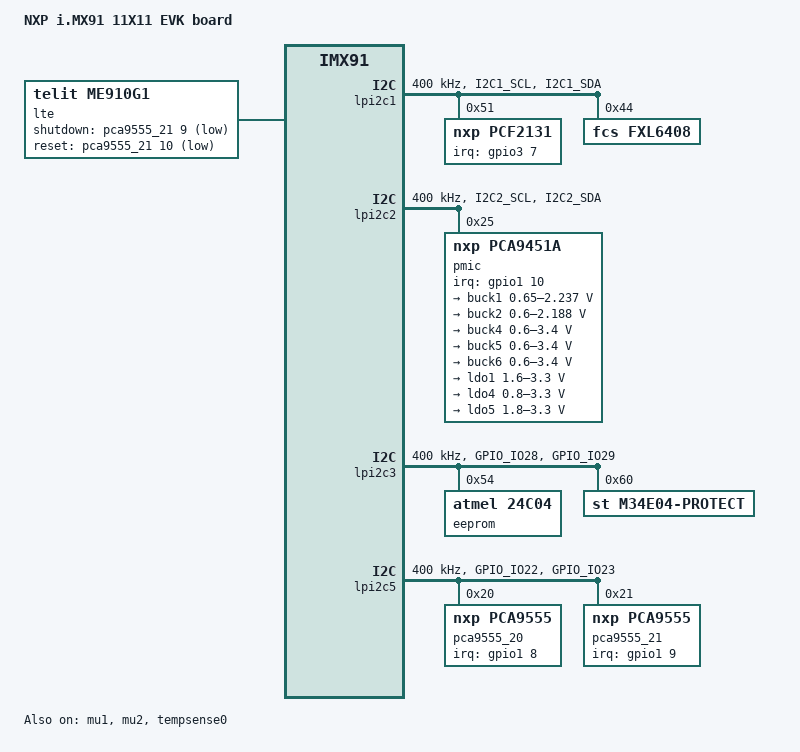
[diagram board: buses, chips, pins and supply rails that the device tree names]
/*
 * Device Tree for the Viridi i.MX93 Board
 *
 * @TYPE: Board Device Tree
 * @NAME: viridi-imx91
 * @SOC: NXP i.MX91
 * @DESCRIPTION:
 *   Board-specific device tree describing the hardware configuration
 *   of the Viridi i.MX91 platform. This file defines SoC integration,
 *   pin multiplexing, peripheral enablement, and board-level resources.
 * @MAINTAINER: Aitor Carrizosa <aitor.carrizosa@futureelectronics.com>
 */

/dts-v1/;

#include <dt-bindings/usb/pd.h>
#include "imx91.dtsi"
#include "viridi-common.dtsi"

&ele_fw2 {
	memory-region = <&ele_reserved>;	//Link firmware region to reserved memory
};

/ {
	model = "NXP i.MX91 11X11 EVK board";
	compatible = "fsl,imx91-11x11-evk", "fsl,imx91";

	chosen {
		stdout-path = &lpuart1;
	};

	reserved-memory {
		#address-cells = <2>;
		#size-cells = <2>;
		ranges;

		linux,cma {											//Contiguous memory for DMA usage
			compatible = "shared-dma-pool";
			reusable;
			alloc-ranges = <0 0x80000000 0 0x40000000>;		//Available region: 1 GB
			size = <0 0x10000000>;							//CMA size = 256 MB
			linux,cma-default;
		};

		ele_reserved: ele-reserved@a4120000 {
			compatible = "shared-dma-pool";			//Memory region reserved for EdgeLock Enclave (ELE)
			reg = <0 0xa4120000 0 0x100000>;
			no-map;									//Prevent normal kernel mapping
		};
	};

	lte {
		compatible = "telit,me910g1";
		status = "okay";
		serial = <&lpuart3>;
		shutdown-gpios = <&pca9555_21 9 GPIO_ACTIVE_LOW>;			//IO_Exp(P1_1) = LTE_ON_OFF_1V8
		reset-gpios = <&pca9555_21 10 GPIO_ACTIVE_LOW>;				//IO_Exp(P1_2) = LTE_nSHTD_1V8
		//gnss-lna-gpios = <&pca9555_21 8 GPIO_ACTIVE_HIGH>;			//Opcional: IO_Exp(P1_0) = GNSS LNA controled by SW
		lte_wake_ready {
			compatible = "nxp,lte_wake_ready";
			interrupt-parent = <&gpio2>;
			interrupts = <12 IRQ_TYPE_LEVEL_LOW>;					//CPU(GPIO2_12) = LTE_SW_RDY_1V8 (Has to be an interruption?)
			interrupt-names = "lte-ready";
		};
	};
};

&mu1 {
	status = "okay";
};

&mu2 {
	status = "okay";
};

&tempsense0 {				//Integrated thermal sensor
	status = "okay";
};

&lpi2c1 {
	clock-frequency = <400000>;
	pinctrl-names = "default";
	pinctrl-0 = <&pinctrl_lpi2c1>;
	status = "okay";

	/*RTC --> PCF2131TFY*/
	pcf2131: pcf2131@51 {
		compatible = "nxp,pcf2131";
		reg = <0x51>;								//I2C Address (7bit) 0x51 expander --> 0xa3 (8bit)
		status = "okay";
		interrupt-parent = <&gpio3>;
		interrupts = <7 IRQ_TYPE_EDGE_FALLING>;		//GPIO3_IO07 --> CPU
	};

	/*Io Expander --> FXL6408UMX*/
	fxl6408: gpio-expander@44 {
		compatible = "fcs,fxl6408";
		reg = <0x44>;
		gpio-controller;
		#gpio-cells = <2>;
		gpio-line-names = "LED1_nEN", "LED2_nEN", "LED3_nEN", "LED4_nEN",
			"CAN1_EOL", "DSP_CTRL_3V3", "NC", "NC";
	};
};

&lpi2c2 {
	clock-frequency = <400000>;
	pinctrl-names = "default";
	pinctrl-0 = <&pinctrl_lpi2c2>;
	status = "okay";

	/*PMIC --> PCA9451AHNY*/
	pmic@25 {
		compatible = "nxp,pca9451a";
		reg = <0x25>;
		pinctrl-names = "default";
		pinctrl-0 = <&pinctrl_pmic>;
		interrupt-parent = <&gpio1>;
		interrupts = <10 IRQ_TYPE_EDGE_FALLING>;	//PMIC INT on GPIO1_IO10
		regulators {
			buck1: BUCK1 {
				regulator-name = "BUCK1";
				regulator-min-microvolt = <650000>;
				regulator-max-microvolt = <2237500>;
				regulator-boot-on;
				regulator-always-on;
				regulator-ramp-delay = <3125>;
			};

			buck2: BUCK2 {
				regulator-name = "BUCK2";
				regulator-min-microvolt = <600000>;
				regulator-max-microvolt = <2187500>;
				regulator-boot-on;
				regulator-always-on;
				regulator-ramp-delay = <3125>;
			};

			buck4: BUCK4{
				regulator-name = "BUCK4";
				regulator-min-microvolt = <600000>;
				regulator-max-microvolt = <3400000>;
				regulator-boot-on;
				regulator-always-on;
			};

			buck5: BUCK5{
				regulator-name = "BUCK5";
				regulator-min-microvolt = <600000>;
				regulator-max-microvolt = <3400000>;
				regulator-boot-on;
				regulator-always-on;
			};

			buck6: BUCK6 {
				regulator-name = "BUCK6";
				regulator-min-microvolt = <600000>;
				regulator-max-microvolt = <3400000>;
				regulator-boot-on;
				regulator-always-on;
			};

			ldo1: LDO1 {
				regulator-name = "LDO1";
				regulator-min-microvolt = <1600000>;
				regulator-max-microvolt = <3300000>;
				regulator-boot-on;
				regulator-always-on;
			};

			ldo4: LDO4 {
				regulator-name = "LDO4";
				regulator-min-microvolt = <800000>;
				regulator-max-microvolt = <3300000>;
				regulator-boot-on;
				regulator-always-on;
			};

			ldo5: LDO5 {
				regulator-name = "LDO5";
				regulator-min-microvolt = <1800000>;
				regulator-max-microvolt = <3300000>;
				regulator-boot-on;
				regulator-always-on;
			};
		};
	};
};

&lpi2c3 {
	clock-frequency = <400000>;
	pinctrl-names = "default";
	pinctrl-0 = <&pinctrl_lpi2c3>;
	status = "okay";

	/*Eeprom --> M34E04-FMC9TG*/
	eeprom@54 {
		compatible = "atmel,24c04", "st,m34e04";
		reg = <0x54>;		//I2C Address --> 0xA8 (8 bits) = 0x54 (7 bits)
		pagesize = <16>;
		size = <512>;
	};

	m34e04-protect@60 {
		compatible = "st,m34e04-protect";
		reg = <0x60>;		// Protection --> 0x60 (7 bits)
	};
};

&lpi2c5 {
	clock-frequency = <400000>;
	pinctrl-names = "default";
	pinctrl-0 = <&pinctrl_lpi2c5>;
	status = "okay";

	/*Io Expander --> PCA9555AHF,128*/
	pca9555_20: gpio@20 {
		compatible = "nxp,pca9555";
		reg = <0x20>;							//I2C Address (7bit) 0x20 expander
		pinctrl-names = "default";
		pinctrl-0 = <&pinctrl_pca9555_20>;
		gpio-controller;
		#gpio-cells = <2>;
		interrupt-parent = <&gpio1>;
		interrupts = <8 IRQ_TYPE_LEVEL_LOW>;	//Io Expander INT on GPIO1_IO08
		gpio-line-names = "RS485_nRE_1V8", "RSTRAN_nSHDN_1V8","RSTRAN_CTRL_1V8", "RSTRAN_SEL_1V8",
			"RSTRAN_DUP_1V8", "CONA_EN", "CONB_EN", "NC",
			"DIGITAL_IN0", "DIGITAL_IN1","DIGITAL_IN2", "DIGITAL_IN3",
			"OUT0_EN", "OUT1_EN", "OUT2_EN", "OUT3_EN";
	};

	/*Io Expander --> PCA9555AHF,128*/
	pca9555_21: gpio@21 {
		compatible = "nxp,pca9555";
		reg = <0x21>;							//I2C Address (7bit) 0x21 expander
		pinctrl-names = "default";
		pinctrl-0 = <&pinctrl_pca9555_21>;
		#gpio-cells = <2>;
		gpio-controller;
		interrupt-parent = <&gpio1>;
		interrupts = <9 IRQ_TYPE_LEVEL_LOW>;	//Io Expander INT on GPIO1_IO09
		gpio-line-names = "EXP_IO1", "EXP_IO2",
			"EXP_IO3", "EXP_IO4", "EXP_PWR_EN",
			"WF_nEN_1V8", "WF_nRST_1V8", "BT_nRST_1V8",
			"GNSS_LNA_EN1", "LTE_ON_OFF_1V8",
			"NC", "NC", "NC", "NC", "NC", "NC";
	};
};

&iomuxc {
	pinctrl_lpi2c1: lpi2c1grp {
		fsl,pins = <
			MX91_PAD_I2C1_SCL__LPI2C1_SCL			0x40000b9e
			MX91_PAD_I2C1_SDA__LPI2C1_SDA			0x40000b9e
		>;
	};

	pinctrl_lpi2c2: lpi2c2grp {
		fsl,pins = <
			MX91_PAD_I2C2_SCL__LPI2C2_SCL			0x40000b9e
			MX91_PAD_I2C2_SDA__LPI2C2_SDA			0x40000b9e
		>;
	};

	pinctrl_pmic: pmic1grp {
		fsl,pins = <
			MX91_PAD_PDM_BIT_STREAM1__GPIO1_IO10	0x31e
		>;
	};

	pinctrl_lpi2c3: lpi2c3grp {
		fsl,pins = <
			MX91_PAD_GPIO_IO28__LPI2C3_SDA			0x40000b9e
			MX91_PAD_GPIO_IO29__LPI2C3_SCL			0x40000b9e
		>;
	};

	pinctrl_lpi2c5: lpi2c5grp {
		fsl,pins = <
			MX91_PAD_GPIO_IO22__LPI2C5_SDA			0x40000b9e
			MX91_PAD_GPIO_IO23__LPI2C5_SCL			0x40000b9e
		>;
	};

	pinctrl_pca9555_20: pca9555_20grp {
		fsl,pins = <
			MX91_PAD_PDM_CLK__GPIO1_IO8				0x31e
		>;
	};

	pinctrl_pca9555_21: pca9555_21grp {
		fsl,pins = <
			MX91_PAD_PDM_BIT_STREAM0__GPIO1_IO9		0x31e
		>;
	};

	pinctrl_lpspi4: lpspi4grp {
		fsl,pins = <
			MX91_PAD_GPIO_IO18__LPSPI4_PCS0			0x43	//CS0 (chip select)
			MX91_PAD_GPIO_IO19__LPSPI4_SIN			0x43
			MX91_PAD_GPIO_IO20__LPSPI4_SOUT			0x43
			MX91_PAD_GPIO_IO21__LPSPI4_SCK			0x43
		>;
	};

	pinctrl_flexcan1: flexcan1grp {
		fsl,pins = <
			MX91_PAD_SAI1_TXD0__CAN1_TX				0x139e
			MX91_PAD_SAI1_TXC__CAN1_RX				0x139e
			// MX91_PAD_SAI1_RXD0__GPIO1_IO14			0x139e		//CAN1_STBY
			/* CAN1_EOL moved to FXL6408 GPIO4 - no pinctrl needed */
		>;
	};

	pinctrl_uart1: uart1grp {
		fsl,pins = <
			MX91_PAD_UART1_RXD__LPUART1_RX			0x31e
			MX91_PAD_UART1_TXD__LPUART1_TX			0x31e
		>;
	};

	pinctrl_uart3: uart3_pins {
		fsl,pins = <
			MX91_PAD_GPIO_IO14__LPUART3_TX			0x31e
			MX91_PAD_GPIO_IO15__LPUART3_RX			0x31e
			MX91_PAD_GPIO_IO16__LPUART3_CTS_B		0x31e
			MX91_PAD_GPIO_IO17__LPUART3_RTS_B		0x31e
		>;
	};

	pinctrl_uart5: uart5grp {
		fsl,pins = <
			MX91_PAD_GPIO_IO00__LPUART5_TX		0x31e
			MX91_PAD_GPIO_IO01__LPUART5_RX			0x31e
			MX91_PAD_GPIO_IO03__LPUART5_RTS_B		0x31e
			MX91_PAD_GPIO_IO02__LPUART5_CTS_B		0x31e
		>;
	};

	pinctrl_uart6: uart6grp {
		fsl,pins = <
			MX91_PAD_GPIO_IO04__LPUART6_TX			0x31e
			MX91_PAD_GPIO_IO05__LPUART6_RX			0x31e
			MX91_PAD_GPIO_IO06__LPUART6_CTS_B		0x31e
			MX91_PAD_GPIO_IO07__LPUART6_RTS_B		0x31e
		>;
	};

	pinctrl_uart7: uart7grp {
		fsl,pins = <
			MX91_PAD_GPIO_IO08__LPUART7_TX			0x31e
			MX91_PAD_GPIO_IO09__LPUART7_RX			0x31e
			MX91_PAD_GPIO_IO10__LPUART7_CTS_B		0x31e
			MX91_PAD_GPIO_IO11__LPUART7_RTS_B		0x31e
		>;
	};

	pinctrl_usdhc1: usdhc1grp {
		fsl,pins = <
			MX91_PAD_SD1_CLK__USDHC1_CLK			0x1582
			MX91_PAD_SD1_CMD__USDHC1_CMD			0x1382
			MX91_PAD_SD1_DATA0__USDHC1_DATA0		0x1382
			MX91_PAD_SD1_DATA1__USDHC1_DATA1		0x1382
			MX91_PAD_SD1_DATA2__USDHC1_DATA2		0x1382
			MX91_PAD_SD1_DATA3__USDHC1_DATA3		0x1382
			MX91_PAD_SD1_DATA4__USDHC1_DATA4		0x1382
			MX91_PAD_SD1_DATA5__USDHC1_DATA5		0x1382
			MX91_PAD_SD1_DATA6__USDHC1_DATA6		0x1382
			MX91_PAD_SD1_DATA7__USDHC1_DATA7		0x1382
			MX91_PAD_SD1_STROBE__USDHC1_STROBE		0x1582
		>;
	};

	pinctrl_usdhc1_100mhz: usdhc1-100mhzgrp {
		fsl,pins = <
			MX91_PAD_SD1_CLK__USDHC1_CLK			0x158e
			MX91_PAD_SD1_CMD__USDHC1_CMD			0x138e
			MX91_PAD_SD1_DATA0__USDHC1_DATA0		0x138e
			MX91_PAD_SD1_DATA1__USDHC1_DATA1		0x138e
			MX91_PAD_SD1_DATA2__USDHC1_DATA2		0x138e
			MX91_PAD_SD1_DATA3__USDHC1_DATA3		0x138e
			MX91_PAD_SD1_DATA4__USDHC1_DATA4		0x138e
			MX91_PAD_SD1_DATA5__USDHC1_DATA5		0x138e
			MX91_PAD_SD1_DATA6__USDHC1_DATA6		0x138e
			MX91_PAD_SD1_DATA7__USDHC1_DATA7		0x138e
			MX91_PAD_SD1_STROBE__USDHC1_STROBE		0x158e
		>;
	};

	pinctrl_usdhc1_200mhz: usdhc1-200mhzgrp {
		fsl,pins = <
			MX91_PAD_SD1_CLK__USDHC1_CLK			0x15fe
			MX91_PAD_SD1_CMD__USDHC1_CMD			0x13fe
			MX91_PAD_SD1_DATA0__USDHC1_DATA0		0x13fe
			MX91_PAD_SD1_DATA1__USDHC1_DATA1		0x13fe
			MX91_PAD_SD1_DATA2__USDHC1_DATA2		0x13fe
			MX91_PAD_SD1_DATA3__USDHC1_DATA3		0x13fe
			MX91_PAD_SD1_DATA4__USDHC1_DATA4		0x13fe
			MX91_PAD_SD1_DATA5__USDHC1_DATA5		0x13fe
			MX91_PAD_SD1_DATA6__USDHC1_DATA6		0x13fe
			MX91_PAD_SD1_DATA7__USDHC1_DATA7		0x13fe
			MX91_PAD_SD1_STROBE__USDHC1_STROBE		0x15fe
		>;
	};

	pinctrl_reg_usdhc2_vmmc: regusdhc2vmmcgrp {
		fsl,pins = <
			MX91_PAD_SD2_RESET_B__GPIO3_IO7			0x31e
		>;
	};

	pinctrl_usdhc2_gpio: usdhc2gpiogrp {
		fsl,pins = <
			MX91_PAD_SD2_CD_B__GPIO3_IO0			0x31e
		>;
	};

	pinctrl_usdhc2_gpio_sleep: usdhc2gpiogrpsleep {
		fsl,pins = <
			MX91_PAD_SD2_CD_B__GPIO3_IO0			0x51e
		>;
	};

	pinctrl_usdhc2: usdhc2grp {
		fsl,pins = <
			MX91_PAD_SD2_CLK__USDHC2_CLK			0x1582
			MX91_PAD_SD2_CMD__USDHC2_CMD			0x1382
			MX91_PAD_SD2_DATA0__USDHC2_DATA0		0x1382
			MX91_PAD_SD2_DATA1__USDHC2_DATA1		0x1382
			MX91_PAD_SD2_DATA2__USDHC2_DATA2		0x1382
			MX91_PAD_SD2_DATA3__USDHC2_DATA3		0x1382
			MX91_PAD_SD2_VSELECT__USDHC2_VSELECT	0x51e
		>;
	};

	pinctrl_usdhc2_100mhz: usdhc2-100mhzgrp {
		fsl,pins = <
			MX91_PAD_SD2_CLK__USDHC2_CLK			0x158e
			MX91_PAD_SD2_CMD__USDHC2_CMD			0x138e
			MX91_PAD_SD2_DATA0__USDHC2_DATA0		0x138e
			MX91_PAD_SD2_DATA1__USDHC2_DATA1		0x138e
			MX91_PAD_SD2_DATA2__USDHC2_DATA2		0x138e
			MX91_PAD_SD2_DATA3__USDHC2_DATA3		0x138e
			MX91_PAD_SD2_VSELECT__USDHC2_VSELECT	0x51e
		>;
	};

	pinctrl_usdhc2_200mhz: usdhc2-200mhzgrp {
		fsl,pins = <
			MX91_PAD_SD2_CLK__USDHC2_CLK			0x15fe
			MX91_PAD_SD2_CMD__USDHC2_CMD			0x13fe
			MX91_PAD_SD2_DATA0__USDHC2_DATA0		0x13fe
			MX91_PAD_SD2_DATA1__USDHC2_DATA1		0x13fe
			MX91_PAD_SD2_DATA2__USDHC2_DATA2		0x13fe
			MX91_PAD_SD2_DATA3__USDHC2_DATA3		0x13fe
			MX91_PAD_SD2_VSELECT__USDHC2_VSELECT	0x51e
		>;
	};

	pinctrl_usdhc2_sleep: usdhc2grpsleep {
		fsl,pins = <
			MX91_PAD_SD2_CLK__GPIO3_IO1				0x51e
			MX91_PAD_SD2_CMD__GPIO3_IO2				0x51e
			MX91_PAD_SD2_DATA0__GPIO3_IO3			0x51e
			MX91_PAD_SD2_DATA1__GPIO3_IO4			0x51e
			MX91_PAD_SD2_DATA2__GPIO3_IO5			0x51e
			MX91_PAD_SD2_DATA3__GPIO3_IO6			0x51e
			MX91_PAD_SD2_VSELECT__GPIO3_IO19		0x51e
		>;
	};

	pinctrl_usdhc3: usdhc3grp {
		fsl,pins = <
			MX91_PAD_SD3_CLK__USDHC3_CLK			0x1582
			MX91_PAD_SD3_CMD__USDHC3_CMD			0x1382
			MX91_PAD_SD3_DATA0__USDHC3_DATA0		0x1382
			MX91_PAD_SD3_DATA1__USDHC3_DATA1		0x1382
			MX91_PAD_SD3_DATA2__USDHC3_DATA2		0x1382
			MX91_PAD_SD3_DATA3__USDHC3_DATA3		0x1382
		>;
	};

	pinctrl_usdhc3_100mhz: usdhc3-100mhzgrp {
		fsl,pins = <
			MX91_PAD_SD3_CLK__USDHC3_CLK			0x158e
			MX91_PAD_SD3_CMD__USDHC3_CMD			0x138e
			MX91_PAD_SD3_DATA0__USDHC3_DATA0		0x138e
			MX91_PAD_SD3_DATA1__USDHC3_DATA1		0x138e
			MX91_PAD_SD3_DATA2__USDHC3_DATA2		0x138e
			MX91_PAD_SD3_DATA3__USDHC3_DATA3		0x138e
		>;
	};

	pinctrl_usdhc3_200mhz: usdhc3-200mhzgrp {
		fsl,pins = <
			MX91_PAD_SD3_CLK__USDHC3_CLK			0x15fe
			MX91_PAD_SD3_CMD__USDHC3_CMD			0x13fe
			MX91_PAD_SD3_DATA0__USDHC3_DATA0		0x13fe
			MX91_PAD_SD3_DATA1__USDHC3_DATA1		0x13fe
			MX91_PAD_SD3_DATA2__USDHC3_DATA2		0x13fe
			MX91_PAD_SD3_DATA3__USDHC3_DATA3		0x13fe
		>;
	};

	pinctrl_usdhc3_sleep: usdhc3grpsleep {
		fsl,pins = <
			MX91_PAD_SD3_CLK__GPIO3_IO20			0x31e
			MX91_PAD_SD3_CMD__GPIO3_IO21			0x31e
			MX91_PAD_SD3_DATA0__GPIO3_IO22			0x31e
			MX91_PAD_SD3_DATA1__GPIO3_IO23			0x31e
			MX91_PAD_SD3_DATA2__GPIO3_IO24			0x31e
			MX91_PAD_SD3_DATA3__GPIO3_IO25			0x31e
		>;
	};

	pinctrl_wakeup: wakeupgrp {
		fsl,pins = <
			MX91_PAD_ENET1_TD3__GPIO4_IO2			0x31e
			MX91_PAD_ENET1_TXC__GPIO4_IO7			0x31e
			MX91_PAD_ENET2_TD3__GPIO4_IO16			0x31e
		>;
	};
};
